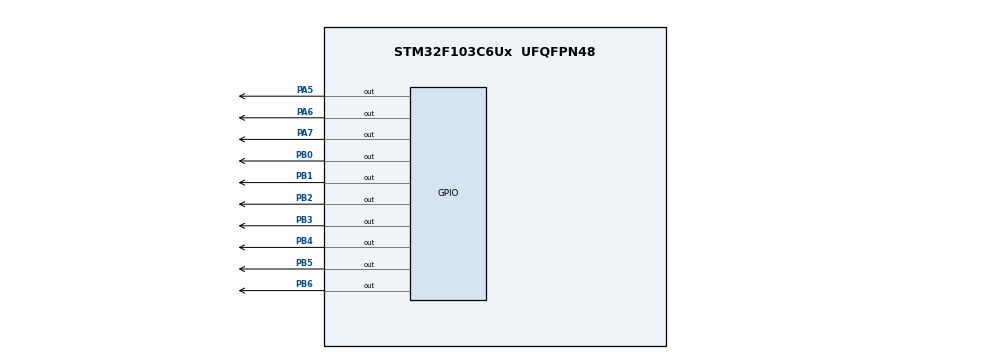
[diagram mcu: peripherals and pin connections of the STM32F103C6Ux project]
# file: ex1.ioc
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Mcu.Family=STM32F1
Mcu.Name=STM32F103C6Ux
Mcu.Package=UFQFPN48
NVIC.PriorityGroup=NVIC_PRIORITYGROUP_4
NVIC.TIM2_IRQn=true\:0\:0\:false\:false\:true\:true\:true\:true
PA5.Signal=GPIO_Output
PA6.Signal=GPIO_Output
PA7.Signal=GPIO_Output
PB0.Signal=GPIO_Output
PB1.Signal=GPIO_Output
PB2.Signal=GPIO_Output
PB3.Signal=GPIO_Output
PB4.Signal=GPIO_Output
PB5.Signal=GPIO_Output
PB6.Signal=GPIO_Output
ProjectManager.HeapSize=0x200
ProjectManager.StackSize=0x400
ProjectManager.TargetToolchain=STM32CubeIDE
RCC.APB1Freq_Value=8000000
RCC.APB2Freq_Value=8000000
TIM2.Period=9
TIM2.Prescaler=7999
VP_TIM2_VS_ClockSourceINT.Mode=Internal
board=custom

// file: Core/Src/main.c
/* USER CODE BEGIN Header */
/**
  ******************************************************************************
  * @file           : main.c
  * @brief          : Main program body
  ******************************************************************************
  * @attention
  *
  * Copyright (c) 2022 STMicroelectronics.
  * All rights reserved.
  *
  * This software is licensed under terms that can be found in the LICENSE file
  * in the root directory of this software component.
  * If no LICENSE file comes with this software, it is provided AS-IS.
  *
  ******************************************************************************
  */
/* USER CODE END Header */
#include "main.h"

TIM_HandleTypeDef htim2;

void SystemClock_Config(void);
static void MX_GPIO_Init(void);
static void MX_TIM2_Init(void);

/* USER CODE BEGIN 0 */
void display7SEG(int num) {
	switch(num) {
	case 0:
		HAL_GPIO_WritePin(GPIOB, GPIO_PIN_0, RESET);
		HAL_GPIO_WritePin(GPIOB, GPIO_PIN_1, RESET);
		HAL_GPIO_WritePin(GPIOB, GPIO_PIN_2, RESET);
		HAL_GPIO_WritePin(GPIOB, GPIO_PIN_3, RESET);
		HAL_GPIO_WritePin(GPIOB, GPIO_PIN_4, RESET);
		HAL_GPIO_WritePin(GPIOB, GPIO_PIN_5, RESET);
		HAL_GPIO_WritePin(GPIOB, GPIO_PIN_6, SET);
		break;
	case 1:
		HAL_GPIO_WritePin(GPIOB, GPIO_PIN_0, SET);
		HAL_GPIO_WritePin(GPIOB, GPIO_PIN_1, RESET);
		HAL_GPIO_WritePin(GPIOB, GPIO_PIN_2, RESET);
		HAL_GPIO_WritePin(GPIOB, GPIO_PIN_3, SET);
		HAL_GPIO_WritePin(GPIOB, GPIO_PIN_4, SET);
		HAL_GPIO_WritePin(GPIOB, GPIO_PIN_5, SET);
		HAL_GPIO_WritePin(GPIOB, GPIO_PIN_6, SET);
		break;
	case 2:
		HAL_GPIO_WritePin(GPIOB, GPIO_PIN_0, RESET);
		HAL_GPIO_WritePin(GPIOB, GPIO_PIN_1, RESET);
		HAL_GPIO_WritePin(GPIOB, GPIO_PIN_2, SET);
		HAL_GPIO_WritePin(GPIOB, GPIO_PIN_3, RESET);
		HAL_GPIO_WritePin(GPIOB, GPIO_PIN_4, RESET);
		HAL_GPIO_WritePin(GPIOB, GPIO_PIN_5, SET);
		HAL_GPIO_WritePin(GPIOB, GPIO_PIN_6, RESET);
		break;
	case 3:
		HAL_GPIO_WritePin(GPIOB, GPIO_PIN_0, RESET);
		HAL_GPIO_WritePin(GPIOB, GPIO_PIN_1, RESET);
		HAL_GPIO_WritePin(GPIOB, GPIO_PIN_2, RESET);
		HAL_GPIO_WritePin(GPIOB, GPIO_PIN_3, RESET);
		HAL_GPIO_WritePin(GPIOB, GPIO_PIN_4, SET);
		HAL_GPIO_WritePin(GPIOB, GPIO_PIN_5, SET);
		HAL_GPIO_WritePin(GPIOB, GPIO_PIN_6, RESET);
		break;
	case 4:
		HAL_GPIO_WritePin(GPIOB, GPIO_PIN_0, SET);
		HAL_GPIO_WritePin(GPIOB, GPIO_PIN_1, RESET);
		HAL_GPIO_WritePin(GPIOB, GPIO_PIN_2, RESET);
		HAL_GPIO_WritePin(GPIOB, GPIO_PIN_3, SET);
		HAL_GPIO_WritePin(GPIOB, GPIO_PIN_4, SET);
		HAL_GPIO_WritePin(GPIOB, GPIO_PIN_5, RESET);
		HAL_GPIO_WritePin(GPIOB, GPIO_PIN_6, RESET);
		break;
	case 5:
		HAL_GPIO_WritePin(GPIOB, GPIO_PIN_0, RESET);
		HAL_GPIO_WritePin(GPIOB, GPIO_PIN_1, SET);
		HAL_GPIO_WritePin(GPIOB, GPIO_PIN_2, RESET);
		HAL_GPIO_WritePin(GPIOB, GPIO_PIN_3, RESET);
		HAL_GPIO_WritePin(GPIOB, GPIO_PIN_4, SET);
		HAL_GPIO_WritePin(GPIOB, GPIO_PIN_5, RESET);
		HAL_GPIO_WritePin(GPIOB, GPIO_PIN_6, RESET);
		break;
	case 6:
		HAL_GPIO_WritePin(GPIOB, GPIO_PIN_0, RESET);
		HAL_GPIO_WritePin(GPIOB, GPIO_PIN_1, SET);
		HAL_GPIO_WritePin(GPIOB, GPIO_PIN_2, RESET);
		HAL_GPIO_WritePin(GPIOB, GPIO_PIN_3, RESET);
		HAL_GPIO_WritePin(GPIOB, GPIO_PIN_4, RESET);
		HAL_GPIO_WritePin(GPIOB, GPIO_PIN_5, RESET);
		HAL_GPIO_WritePin(GPIOB, GPIO_PIN_6, RESET);
		break;
	case 7:
		HAL_GPIO_WritePin(GPIOB, GPIO_PIN_0, RESET);
		HAL_GPIO_WritePin(GPIOB, GPIO_PIN_1, RESET);
		HAL_GPIO_WritePin(GPIOB, GPIO_PIN_2, RESET);
		HAL_GPIO_WritePin(GPIOB, GPIO_PIN_3, SET);
		HAL_GPIO_WritePin(GPIOB, GPIO_PIN_4, SET);
		HAL_GPIO_WritePin(GPIOB, GPIO_PIN_5, SET);
		HAL_GPIO_WritePin(GPIOB, GPIO_PIN_6, SET);
		break;
	case 8:
		HAL_GPIO_WritePin(GPIOB, GPIO_PIN_0, RESET);
		HAL_GPIO_WritePin(GPIOB, GPIO_PIN_1, RESET);
		HAL_GPIO_WritePin(GPIOB, GPIO_PIN_2, RESET);
		HAL_GPIO_WritePin(GPIOB, GPIO_PIN_3, RESET);
		HAL_GPIO_WritePin(GPIOB, GPIO_PIN_4, RESET);
		HAL_GPIO_WritePin(GPIOB, GPIO_PIN_5, RESET);
		HAL_GPIO_WritePin(GPIOB, GPIO_PIN_6, RESET);
		break;
	case 9:
		HAL_GPIO_WritePin(GPIOB, GPIO_PIN_0, RESET);
		HAL_GPIO_WritePin(GPIOB, GPIO_PIN_1, RESET);
		HAL_GPIO_WritePin(GPIOB, GPIO_PIN_2, RESET);
		HAL_GPIO_WritePin(GPIOB, GPIO_PIN_3, RESET);
		HAL_GPIO_WritePin(GPIOB, GPIO_PIN_4, SET);
		HAL_GPIO_WritePin(GPIOB, GPIO_PIN_5, RESET);
		HAL_GPIO_WritePin(GPIOB, GPIO_PIN_6, RESET);
		break;
	}
}
/* USER CODE END 0 */

int main(void)
{

  /* MCU Configuration--------------------------------------------------------*/

  /* Reset of all peripherals, Initializes the Flash interface and the Systick. */
  HAL_Init();

  /* Configure the system clock */
  SystemClock_Config();

  /* Initialize all configured peripherals */
  MX_GPIO_Init();
  MX_TIM2_Init();
  /* USER CODE BEGIN 2 */
  HAL_TIM_Base_Start_IT(&htim2);
  /* USER CODE END 2 */

  /* Infinite loop */
  while (1)
  {

  }
}

void SystemClock_Config(void)
{
  RCC_OscInitTypeDef RCC_OscInitStruct = {0};
  RCC_ClkInitTypeDef RCC_ClkInitStruct = {0};

  /** Initializes the RCC Oscillators according to the specified parameters
  * in the RCC_OscInitTypeDef structure.
  */
  RCC_OscInitStruct.OscillatorType = RCC_OSCILLATORTYPE_HSI;
  RCC_OscInitStruct.HSIState = RCC_HSI_ON;
  RCC_OscInitStruct.HSICalibrationValue = RCC_HSICALIBRATION_DEFAULT;
  RCC_OscInitStruct.PLL.PLLState = RCC_PLL_NONE;
  if (HAL_RCC_OscConfig(&RCC_OscInitStruct) != HAL_OK)
  {
    Error_Handler();
  }

  /** Initializes the CPU, AHB and APB buses clocks
  */
  RCC_ClkInitStruct.ClockType = RCC_CLOCKTYPE_HCLK|RCC_CLOCKTYPE_SYSCLK
                              |RCC_CLOCKTYPE_PCLK1|RCC_CLOCKTYPE_PCLK2;
  RCC_ClkInitStruct.SYSCLKSource = RCC_SYSCLKSOURCE_HSI;
  RCC_ClkInitStruct.AHBCLKDivider = RCC_SYSCLK_DIV1;
  RCC_ClkInitStruct.APB1CLKDivider = RCC_HCLK_DIV1;
  RCC_ClkInitStruct.APB2CLKDivider = RCC_HCLK_DIV1;

  if (HAL_RCC_ClockConfig(&RCC_ClkInitStruct, FLASH_LATENCY_0) != HAL_OK)
  {
    Error_Handler();
  }
}

static void MX_TIM2_Init(void)
{

  TIM_ClockConfigTypeDef sClockSourceConfig = {0};
  TIM_MasterConfigTypeDef sMasterConfig = {0};

  htim2.Instance = TIM2;
  htim2.Init.Prescaler = 7999;
  htim2.Init.CounterMode = TIM_COUNTERMODE_UP;
  htim2.Init.Period = 9;
  htim2.Init.ClockDivision = TIM_CLOCKDIVISION_DIV1;
  htim2.Init.AutoReloadPreload = TIM_AUTORELOAD_PRELOAD_DISABLE;
  if (HAL_TIM_Base_Init(&htim2) != HAL_OK)
  {
    Error_Handler();
  }
  sClockSourceConfig.ClockSource = TIM_CLOCKSOURCE_INTERNAL;
  if (HAL_TIM_ConfigClockSource(&htim2, &sClockSourceConfig) != HAL_OK)
  {
    Error_Handler();
  }
  sMasterConfig.MasterOutputTrigger = TIM_TRGO_RESET;
  sMasterConfig.MasterSlaveMode = TIM_MASTERSLAVEMODE_DISABLE;
  if (HAL_TIMEx_MasterConfigSynchronization(&htim2, &sMasterConfig) != HAL_OK)
  {
    Error_Handler();
  }

}

static void MX_GPIO_Init(void)
{
  GPIO_InitTypeDef GPIO_InitStruct = {0};

  /* GPIO Ports Clock Enable */
  __HAL_RCC_GPIOA_CLK_ENABLE();
  __HAL_RCC_GPIOB_CLK_ENABLE();

  /*Configure GPIO pin Output Level */
  HAL_GPIO_WritePin(GPIOA, GPIO_PIN_5|GPIO_PIN_6|GPIO_PIN_7, GPIO_PIN_RESET);

  /*Configure GPIO pin Output Level */
  HAL_GPIO_WritePin(GPIOB, GPIO_PIN_0|GPIO_PIN_1|GPIO_PIN_2|GPIO_PIN_3
                          |GPIO_PIN_4|GPIO_PIN_5|GPIO_PIN_6, GPIO_PIN_RESET);

  /*Configure GPIO pins : PA5 PA6 PA7 */
  GPIO_InitStruct.Pin = GPIO_PIN_5|GPIO_PIN_6|GPIO_PIN_7;
  GPIO_InitStruct.Mode = GPIO_MODE_OUTPUT_PP;
  GPIO_InitStruct.Pull = GPIO_NOPULL;
  GPIO_InitStruct.Speed = GPIO_SPEED_FREQ_LOW;
  HAL_GPIO_Init(GPIOA, &GPIO_InitStruct);

  /*Configure GPIO pins : PB0 PB1 PB2 PB3
                           PB4 PB5 PB6 */
  GPIO_InitStruct.Pin = GPIO_PIN_0|GPIO_PIN_1|GPIO_PIN_2|GPIO_PIN_3
                          |GPIO_PIN_4|GPIO_PIN_5|GPIO_PIN_6;
  GPIO_InitStruct.Mode = GPIO_MODE_OUTPUT_PP;
  GPIO_InitStruct.Pull = GPIO_NOPULL;
  GPIO_InitStruct.Speed = GPIO_SPEED_FREQ_LOW;
  HAL_GPIO_Init(GPIOB, &GPIO_InitStruct);

}

/* USER CODE BEGIN 4 */
int counter = 100;
void HAL_TIM_PeriodElapsedCallback ( TIM_HandleTypeDef * htim )
{
	counter --;

	if( counter == 50) {
		HAL_GPIO_WritePin(GPIOA, GPIO_PIN_6, 0);
		HAL_GPIO_WritePin(GPIOA, GPIO_PIN_7, 1);
		display7SEG(1);
		HAL_GPIO_TogglePin(GPIOA, GPIO_PIN_5);
	}
	if (counter <= 0) {
		counter = 100;
		HAL_GPIO_WritePin(GPIOA, GPIO_PIN_6, 1);
		HAL_GPIO_WritePin(GPIOA, GPIO_PIN_7, 0);
		display7SEG(2);
		HAL_GPIO_TogglePin(GPIOA, GPIO_PIN_5);
	}
}
/* USER CODE END 4 */

void Error_Handler(void)
{
  __disable_irq();
  while (1)
  {
  }
}
